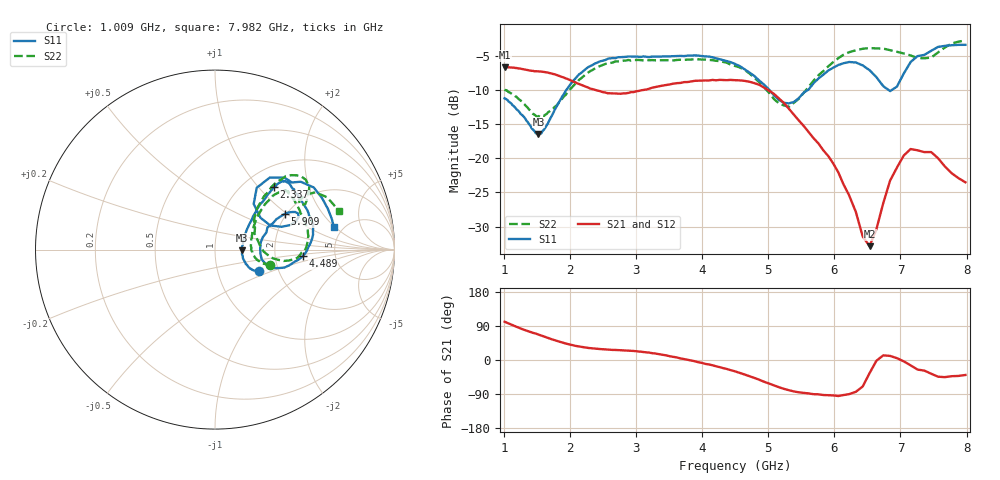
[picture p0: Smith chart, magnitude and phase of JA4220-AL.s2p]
! S-parameters of pins 1 and 3 of a Coilcraft JA4220-AL wideband RF
! transformer from 1GHz to 8GHz with pins 2 and 4 terminated with 50
! ohm loads to ground.
# Hz S RI R 50.0000
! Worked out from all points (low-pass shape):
!   147 points, 1.009 GHz to 7.982 GHz, reference 50 ohm
!   highest |S21| = -6.70 dB at 1.009 GHz (marker M1); lowest = -32.8 dB at 6.532 GHz (marker M2)
!   |S21| within 3 dB of the highest: start of sweep to 2.278 GHz; 3.242 GHz to 4.939 GHz (1.697 GHz wide, 41.5 % of centre)
!   lowest |S11| = -16.5 dB at 1.522 GHz (marker M3), VSWR 1.35, Z = 67.7 - j0.672 ohm
!   |S11| at or under -10 dB: start of sweep to 1.945 GHz; 5.014 GHz to 5.604 GHz (590.1 MHz wide, 11.1 % of centre); 6.815 GHz to 6.873 GHz (57.92 MHz wide, 0.846 % of centre)
!   |S22| runs from -13.9 to -2.8 dB; largest |S21 - S12| = 0.0058
!   S11 on the Smith chart (normalised r, x): 1.009 GHz: 1.59, -0.40; 2.337 GHz: 1.35, +1.22; 4.489 GHz: 2.89, -0.28; 5.909 GHz: 1.96, +0.97; 7.982 GHz: 4.19, +1.93
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1.009274e9  0.2473 -0.1173  -0.0884 0.454  -0.0868 0.454  0.3061 -0.0845
1.522037e9  0.1502 -0.00486  0.1671 0.3972  0.1685 0.3964  0.203 0.0109
2.191193e9  0.2968 0.3102  0.2815 0.1909  0.2829 0.1908  0.2897 0.2651
2.337209e9  0.3293 0.3482  0.2759 0.1624  0.2733 0.163  0.3226 0.3001
2.726397e9  0.3912 0.382  0.2659 0.1306  0.2661 0.1313  0.3917 0.327
3.346927e9  0.4724 0.2852  0.3236 0.0885  0.322 0.0879  0.4545 0.2513
3.940226e9  0.5464 0.1308  0.3664 -0.0378  0.3648 -0.0321  0.517 0.1065
4.488892e9  0.4889 -0.0371  0.3234 -0.1833  0.3263 -0.1849  0.4719 -0.0321
4.56364e9  0.4688 -0.0538  0.3082 -0.2057  0.3098 -0.2063  0.4589 -0.0459
4.937382e9  0.3283 -0.1032  0.1762 -0.2764  0.1776 -0.2777  0.325 -0.0498
5.311123e9  0.2516 0.00362  0.041 -0.2261  0.0405 -0.2266  0.2202 0.0889
5.684865e9  0.3218 0.1462  -0.000464 -0.1399  0.000513 -0.138  0.2552 0.2661
5.90911e9  0.3898 0.1992  -0.00548 -0.1033  -0.00617 -0.1018  0.3147 0.3489
6.220996e9  0.4626 0.2016  -0.00019 -0.0538  -0.00131 -0.0536  0.4259 0.4148
6.428178e9  0.4505 0.1556  0.0092 -0.0252  0.00889 -0.0252  0.4819 0.4063
6.531769e9  0.4178 0.1362  0.0187 -0.013  0.0191 -0.0124  0.5051 0.3901
6.842542e9  0.2534 0.1773  0.0674 0.0129  0.0683 0.012  0.523 0.3244
7.049725e9  0.2328 0.3448  0.1045 -0.00668  0.1032 -0.00619  0.5118 0.2774
7.256907e9  0.3871 0.4005  0.1034 -0.0486  0.1037 -0.0476  0.4792 0.248
7.464089e9  0.4774 0.3781  0.0895 -0.0655  0.0905 -0.0646  0.468 0.2762
7.671271e9  0.5963 0.2873  0.0613 -0.0618  0.0597 -0.0606  0.5587 0.319
7.982044e9  0.6616 0.1257  0.0514 -0.0425  0.0521 -0.0428  0.6927 0.2138
